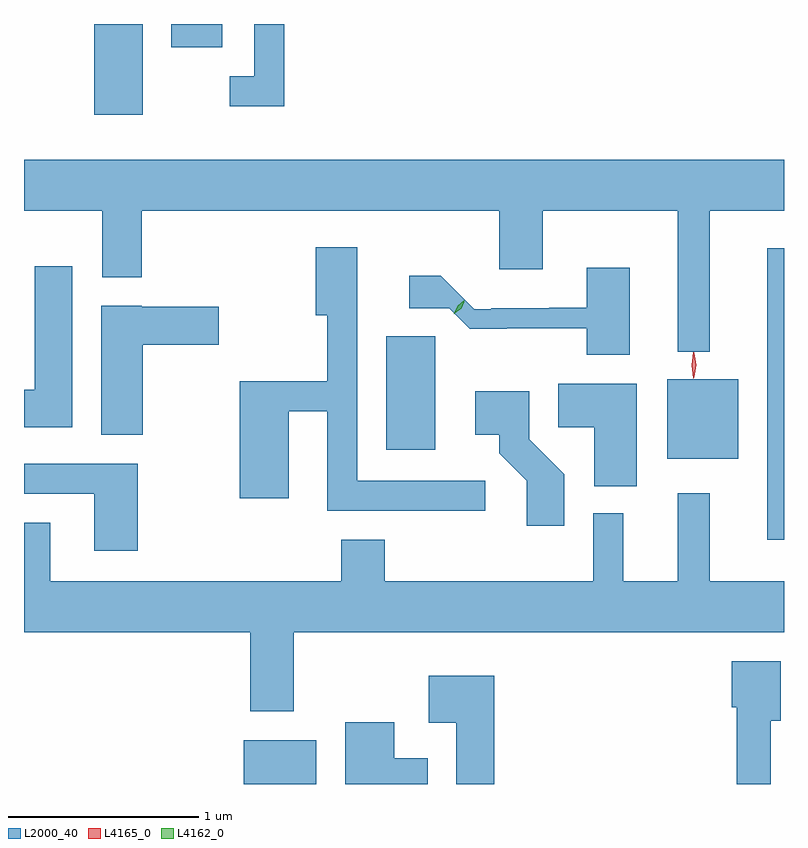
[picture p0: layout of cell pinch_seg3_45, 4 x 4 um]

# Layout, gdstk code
import gdstk
lib = gdstk.Library(unit=1e-6, precision=1e-09)
def R(c, l, rs):  # rectangles x0, y0, x1, y1
    for r in rs: c.add(gdstk.rectangle(r[:2], r[2:], *l))
def P(c, l, *ps):  # polygons
    for p in ps: c.add(gdstk.Polygon(p, *l))
L2000_40 = (2000, 40)
L4162_0 = (4162, 0)
L4165_0 = (4165, 0)

pinch_seg3_45 = lib.new_cell('pinch_seg3_45')
R(pinch_seg3_45, L2000_40, [(1101.066,1142.978,1101.449,1143.209), (1103.821,1144.263,1103.91,1145.799), (1103.296,1144.691,1103.669,1145.109), (1101.816,1144.736,1102.074,1145.334), (1100.281,1146.501,1100.534,1146.978), (1100.686,1146.856,1100.954,1146.978)])
P(pinch_seg3_45, L2000_40, [(1101.279,1146.978),(1101.121,1146.978),(1101.121,1146.704),(1100.993,1146.704),(1100.993,1146.546),(1101.279,1146.546)],
  [(1103.519,1145.996),(1103.91,1145.996),(1103.91,1146.264),(1099.91,1146.264),(1099.91,1145.996),(1100.321,1145.996),(1100.321,1145.646),(1100.529,1145.646),(1100.529,1145.996),(1102.411,1145.996),(1102.411,1145.686),(1102.639,1145.686),(1102.639,1145.996),(1103.351,1145.996),(1103.351,1145.253),(1103.519,1145.253)],
  [(1102.338,1144.574),(1101.664,1144.574),(1101.664,1145.804),(1101.446,1145.804),(1101.446,1145.446),(1101.506,1145.446),(1101.506,1145.099),(1101.046,1145.099),(1101.046,1144.481),(1101.304,1144.481),(1101.304,1144.941),(1101.506,1144.941),(1101.506,1144.416),(1102.338,1144.416)],
  [(1100.164,1145.704),(1099.966,1145.704),(1099.966,1145.054),(1099.91,1145.054),(1099.91,1144.856),(1100.164,1144.856)],
  [(1103.099,1145.694),(1102.871,1145.694),(1102.871,1145.484),(1102.675,1145.484),(1102.675,1145.481),(1102.37,1145.481),(1102.37,1145.477),(1102.279,1145.477),(1102.103,1145.653),(1101.938,1145.653),(1101.938,1145.482),(1102.149,1145.482),(1102.257,1145.374),(1102.45,1145.374),(1102.45,1145.376),(1102.871,1145.376),(1102.871,1145.236),(1103.099,1145.236)],
  [(1100.534,1145.291),(1100.934,1145.291),(1100.934,1145.489),(1100.53,1145.489),(1100.53,1145.494),(1100.316,1145.494),(1100.316,1144.816),(1100.534,1144.816)],
  [(1103.134,1145.084),(1102.721,1145.084),(1102.721,1144.856),(1102.911,1144.856),(1102.911,1144.546),(1103.134,1144.546)],
  [(1102.754,1144.607),(1102.569,1144.792),(1102.569,1145.044),(1102.286,1145.044),(1102.286,1144.816),(1102.411,1144.816),(1102.411,1144.719),(1102.556,1144.574),(1102.556,1144.336),(1102.754,1144.336)],
  [(1100.509,1144.664),(1099.91,1144.664),(1099.91,1144.506),(1100.281,1144.506),(1100.281,1144.206),(1100.509,1144.206)],
  [(1101.329,1143.776),(1103.91,1143.776),(1103.91,1144.044),(1103.519,1144.044),(1103.519,1144.508),(1103.351,1144.508),(1103.351,1144.044),(1103.064,1144.044),(1103.064,1144.403),(1102.906,1144.403),(1102.906,1144.044),(1101.809,1144.044),(1101.809,1144.264),(1101.581,1144.264),(1101.581,1144.044),(1100.049,1144.044),(1100.049,1144.354),(1099.91,1144.354),(1099.91,1143.776),(1101.101,1143.776),(1101.101,1143.361),(1101.329,1143.361)],
  [(1103.839,1143.311),(1103.894,1143.311),(1103.894,1143.624),(1103.636,1143.624),(1103.636,1143.381),(1103.661,1143.381),(1103.661,1142.978),(1103.839,1142.978)],
  [(1102.384,1143.549),(1102.041,1143.549),(1102.041,1143.301),(1102.186,1143.301),(1102.186,1142.978),(1102.384,1142.978)],
  [(1102.034,1143.114),(1101.859,1143.114),(1101.859,1143.304),(1101.601,1143.304),(1101.601,1142.978),(1102.034,1142.978)])
P(pinch_seg3_45, L4162_0, [(1102.173,1145.454),(1102.173,1145.454),(1102.192,1145.495),(1102.226,1145.524),(1102.227,1145.524),(1102.227,1145.523),(1102.208,1145.483),(1102.174,1145.454)],
  [(1102.179,1145.457),(1102.179,1145.458),(1102.195,1145.493),(1102.226,1145.516),(1102.226,1145.516),(1102.226,1145.515),(1102.211,1145.48),(1102.18,1145.457)])
P(pinch_seg3_45, L4165_0, [(1103.433,1145.114),(1103.424,1145.182),(1103.433,1145.25),(1103.434,1145.25),(1103.434,1145.25),(1103.444,1145.182),(1103.434,1145.114),(1103.434,1145.114)],
  [(1103.438,1145.118),(1103.437,1145.119),(1103.428,1145.183),(1103.436,1145.247),(1103.437,1145.247),(1103.437,1145.247),(1103.447,1145.183),(1103.438,1145.119)])

lib.write_gds('pinch_seg3_45.gds')
